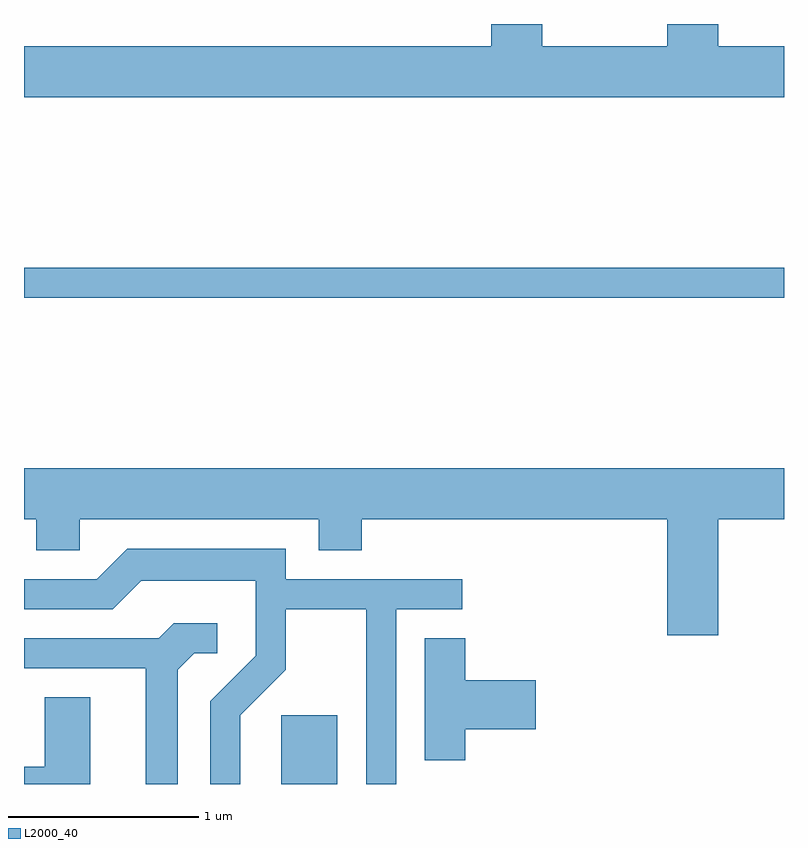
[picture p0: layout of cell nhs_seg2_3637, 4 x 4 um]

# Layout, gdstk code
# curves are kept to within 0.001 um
import gdstk
lib = gdstk.Library(unit=1e-6, precision=1e-09)
def R(c, l, rs):  # rectangles x0, y0, x1, y1
    for r in rs: c.add(gdstk.rectangle(r[:2], r[2:], *l))
def P(c, l, *ps):  # polygons
    for p in ps: c.add(gdstk.Polygon(p, *l))
L2000_40 = (2000, 40)

nhs_seg2_3637 = lib.new_cell('nhs_seg2_3637')
R(nhs_seg2_3637, L2000_40, [(292.966,1055.802,293.259,1056.164), (291.611,1058.361,295.611,1058.519)])
P(nhs_seg2_3637, L2000_40, [(295.611,1059.684),(295.264,1059.684),(295.264,1059.802),(294.996,1059.802),(294.996,1059.684),(294.339,1059.684),(294.339,1059.802),(294.071,1059.802),(294.071,1059.684),(291.611,1059.684),(291.611,1059.416),(295.611,1059.416)],
  [(295.264,1057.196),(295.611,1057.196),(295.611,1057.464),(291.611,1057.464),(291.611,1057.196),(291.676,1057.196),(291.676,1057.031),(291.904,1057.031),(291.904,1057.196),(293.161,1057.196),(293.161,1057.031),(293.389,1057.031),(293.389,1057.196),(294.996,1057.196),(294.996,1056.586),(295.264,1056.586)],
  [(292.749,1056.164),(292.989,1056.404),(292.989,1056.721),(293.411,1056.721),(293.411,1055.802),(293.569,1055.802),(293.569,1056.721),(293.918,1056.721),(293.918,1056.879),(292.989,1056.879),(292.989,1057.039),(292.154,1057.039),(291.994,1056.879),(291.611,1056.88),(291.611,1056.721),(292.077,1056.721),(292.227,1056.871),(292.831,1056.871),(292.831,1056.477),(292.591,1056.237),(292.591,1055.802),(292.749,1055.802)],
  [(292.419,1056.404),(292.507,1056.491),(292.628,1056.491),(292.628,1056.649),(292.399,1056.649),(292.319,1056.569),(291.611,1056.569),(291.611,1056.411),(292.251,1056.411),(292.251,1055.802),(292.419,1055.802)],
  [(293.934,1056.091),(294.304,1056.091),(294.304,1056.349),(293.934,1056.349),(293.934,1056.569),(293.721,1056.569),(293.721,1055.926),(293.934,1055.926)],
  [(291.959,1056.259),(291.721,1056.259),(291.721,1055.894),(291.611,1055.894),(291.611,1055.802),(291.959,1055.802)])

lib.write_gds('nhs_seg2_3637.gds')
